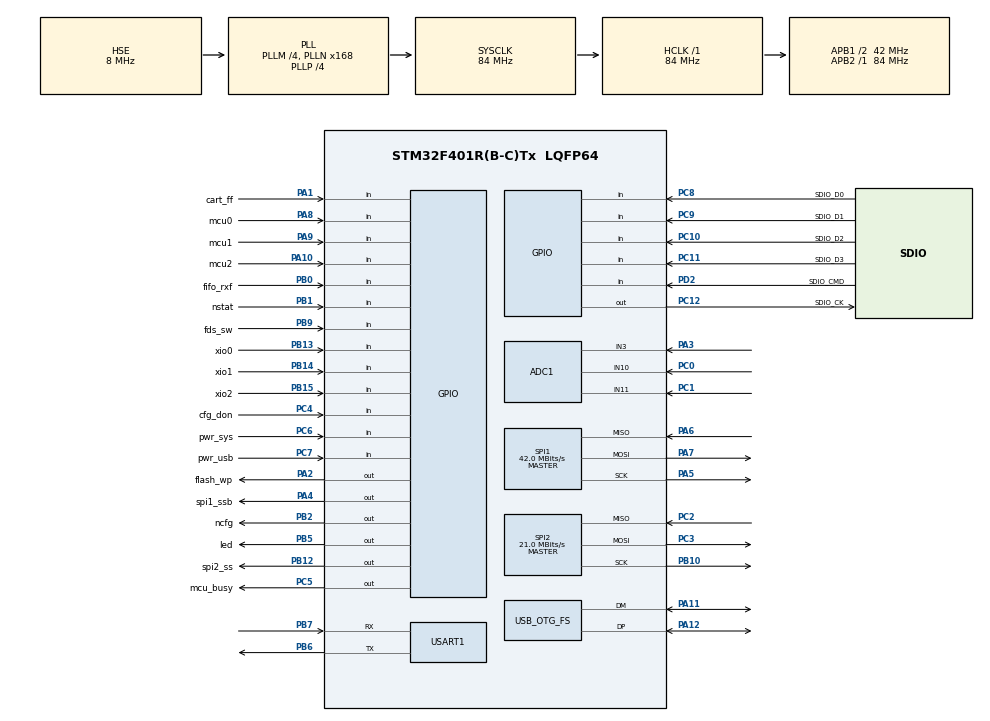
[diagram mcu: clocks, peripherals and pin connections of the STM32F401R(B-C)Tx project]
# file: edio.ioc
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ADC1.Channel-0\#ChannelRegularConversion=ADC_CHANNEL_10
ADC1.ClockPrescaler=ADC_CLOCK_SYNC_PCLK_DIV8
ADC1.InjNumberOfConversion=0
ADC1.NbrOfConversion=1
ADC1.NbrOfConversionFlag=1
ADC1.Rank-0\#ChannelRegularConversion=1
ADC1.SamplingTime-0\#ChannelRegularConversion=ADC_SAMPLETIME_3CYCLES
ADC1.master=1
Dma.Request0=SPI1_TX
Dma.SPI1_TX.0.Direction=DMA_MEMORY_TO_PERIPH
Dma.SPI1_TX.0.FIFOMode=DMA_FIFOMODE_ENABLE
Dma.SPI1_TX.0.FIFOThreshold=DMA_FIFO_THRESHOLD_1QUARTERFULL
Dma.SPI1_TX.0.Instance=DMA2_Stream5
Dma.SPI1_TX.0.MemBurst=DMA_MBURST_SINGLE
Dma.SPI1_TX.0.MemDataAlignment=DMA_MDATAALIGN_BYTE
Dma.SPI1_TX.0.MemInc=DMA_MINC_ENABLE
Dma.SPI1_TX.0.Mode=DMA_NORMAL
Dma.SPI1_TX.0.PeriphBurst=DMA_PBURST_SINGLE
Dma.SPI1_TX.0.PeriphDataAlignment=DMA_PDATAALIGN_BYTE
Dma.SPI1_TX.0.PeriphInc=DMA_PINC_DISABLE
Dma.SPI1_TX.0.Priority=DMA_PRIORITY_LOW
IWDG.Prescaler=IWDG_PRESCALER_32
IWDG.Reload=2048
Mcu.Family=STM32F4
Mcu.Name=STM32F401R(B-C)Tx
Mcu.Package=LQFP64
NVIC.DMA2_Stream5_IRQn=true\:0\:0\:false\:false\:true\:false
NVIC.OTG_FS_IRQn=true\:0\:0\:false\:false\:true\:false
NVIC.PriorityGroup=NVIC_PRIORITYGROUP_4
PA1.GPIO_Label=cart_ff
PA1.GPIO_PuPd=GPIO_PULLUP
PA1.Signal=GPIO_Input
PA10.GPIO_Label=mcu2
PA10.Signal=GPIO_Input
PA11.Mode=Device_Only
PA11.Signal=USB_OTG_FS_DM
PA12.GPIO_PuPd=GPIO_PULLUP
PA12.Mode=Device_Only
PA12.Signal=USB_OTG_FS_DP
PA2.GPIO_Label=flash_wp
PA2.Signal=GPIO_Output
PA3.Signal=ADCx_IN3
PA4.GPIO_Label=spi1_ssb
PA4.PinState=GPIO_PIN_SET
PA4.Signal=GPIO_Output
PA5.Mode=Full_Duplex_Master
PA5.Signal=SPI1_SCK
PA6.Mode=Full_Duplex_Master
PA6.Signal=SPI1_MISO
PA7.Mode=Full_Duplex_Master
PA7.Signal=SPI1_MOSI
PA8.GPIO_Label=mcu0
PA8.Signal=GPIO_Input
PA9.GPIO_Label=mcu1
PA9.Signal=GPIO_Input
PB0.GPIO_Label=fifo_rxf
PB0.GPIO_PuPd=GPIO_PULLUP
PB0.Signal=GPIO_Input
PB1.GPIO_Label=nstat
PB1.GPIO_PuPd=GPIO_PULLUP
PB1.Signal=GPIO_Input
PB10.Mode=Full_Duplex_Master
PB10.Signal=SPI2_SCK
PB12.GPIO_Label=spi2_ss
PB12.Signal=GPIO_Output
PB13.GPIO_Label=xio0
PB13.GPIO_PuPd=GPIO_PULLUP
PB13.Signal=GPIO_Input
PB14.GPIO_Label=xio1
PB14.GPIO_PuPd=GPIO_PULLUP
PB14.Signal=GPIO_Input
PB15.GPIO_Label=xio2
PB15.GPIO_PuPd=GPIO_PULLUP
PB15.Signal=GPIO_Input
PB2.GPIO_Label=ncfg
PB2.PinState=GPIO_PIN_SET
PB2.Signal=GPIO_Output
PB5.GPIO_Label=led
PB5.Signal=GPIO_Output
PB6.Mode=Asynchronous
PB6.Signal=USART1_TX
PB7.Mode=Asynchronous
PB7.Signal=USART1_RX
PB9.GPIO_Label=fds_sw
PB9.GPIO_PuPd=GPIO_PULLUP
PB9.Signal=GPIO_Input
PC0.Signal=ADCx_IN10
PC1.Signal=ADCx_IN11
PC10.GPIO_Label=SDIO_D2
PC10.Signal=GPIO_Input
PC11.GPIO_Label=SDIO_D3
PC11.Signal=GPIO_Input
PC12.GPIO_Label=SDIO_CK
PC12.Signal=GPIO_Output
PC14-OSC32_IN.Mode=LSE-External-Oscillator
PC14-OSC32_IN.Signal=RCC_OSC32_IN
PC15-OSC32_OUT.Mode=LSE-External-Oscillator
PC15-OSC32_OUT.Signal=RCC_OSC32_OUT
PC2.Mode=Full_Duplex_Master
PC2.Signal=SPI2_MISO
PC3.Mode=Full_Duplex_Master
PC3.Signal=SPI2_MOSI
PC4.GPIO_Label=cfg_don
PC4.GPIO_PuPd=GPIO_PULLUP
PC4.Signal=GPIO_Input
PC5.GPIO_Label=mcu_busy
PC5.Signal=GPIO_Output
PC6.GPIO_Label=pwr_sys
PC6.Signal=GPIO_Input
PC7.GPIO_Label=pwr_usb
PC7.GPIO_PuPd=GPIO_NOPULL
PC7.Signal=GPIO_Input
PC8.GPIO_Label=SDIO_D0
PC8.Signal=GPIO_Input
PC9.GPIO_Label=SDIO_D1
PC9.Signal=GPIO_Input
PD2.GPIO_Label=SDIO_CMD
PD2.Signal=GPIO_Input
PH0\ -\ OSC_IN.Mode=HSE-External-Oscillator
PH0\ -\ OSC_IN.Signal=RCC_OSC_IN
PH1\ -\ OSC_OUT.Mode=HSE-External-Oscillator
PH1\ -\ OSC_OUT.Signal=RCC_OSC_OUT
ProjectManager.HeapSize=0x200
ProjectManager.StackSize=0x400
ProjectManager.TargetToolchain=Makefile
RCC.48MHZClocksFreq_Value=48000000
RCC.AHBFreq_Value=84000000
RCC.APB1CLKDivider=RCC_HCLK_DIV2
RCC.APB1Freq_Value=42000000
RCC.APB1TimFreq_Value=84000000
RCC.APB2Freq_Value=84000000
RCC.APB2TimFreq_Value=84000000
RCC.CortexFreq_Value=84000000
RCC.HCLKFreq_Value=84000000
RCC.HSE_VALUE=8000000
RCC.HSI_VALUE=16000000
RCC.PLLM=4
RCC.PLLN=168
RCC.PLLP=RCC_PLLP_DIV4
RCC.PLLQ=7
RCC.RCC_RTC_Clock_Source=RCC_RTCCLKSOURCE_LSE
RCC.RCC_RTC_Clock_SourceVirtual=RCC_RTCCLKSOURCE_LSE
RCC.SYSCLKFreq_VALUE=84000000
RCC.SYSCLKSource=RCC_SYSCLKSOURCE_PLLCLK
RCC.VCOOutputFreq_Value=336000000
SH.ADCx_IN10.0=ADC1_IN10,IN10
SH.ADCx_IN11.0=ADC1_IN11,IN11
SH.ADCx_IN3.0=ADC1_IN3,IN3
SPI1.CalculateBaudRate=42.0 MBits/s
SPI1.Direction=SPI_DIRECTION_2LINES
SPI1.Mode=SPI_MODE_MASTER
SPI1.VirtualType=VM_MASTER
SPI2.BaudRatePrescaler=SPI_BAUDRATEPRESCALER_2
SPI2.CalculateBaudRate=21.0 MBits/s
SPI2.Direction=SPI_DIRECTION_2LINES
SPI2.FirstBit=SPI_FIRSTBIT_MSB
SPI2.Mode=SPI_MODE_MASTER
SPI2.VirtualType=VM_MASTER
TIM2.CounterMode=TIM_COUNTERMODE_DOWN
TIM2.Period=1
TIM2.Prescaler=8400
TIM2.TIM_MasterOutputTrigger=TIM_TRGO_UPDATE
USART1.VirtualMode=VM_ASYNC
USB_DEVICE.CLASS_NAME_FS=CDC
USB_DEVICE.MANUFACTURER_STRING=STMicroelectronics
USB_DEVICE.PRODUCT_STRING_CDC_FS=EverDrive N8
USB_DEVICE.USBD_SELF_POWERED=0
USB_DEVICE.VirtualMode=Cdc
USB_DEVICE.VirtualModeFS=Cdc_FS
USB_OTG_FS.VirtualMode=Device_Only
USB_OTG_FS.ep0_mps=DEP0CTL_MPS_64
VP_ADC1_Vbat_Input.Mode=IN-Vbat
VP_CRC_VS_CRC.Mode=CRC_Activate
VP_IWDG_VS_IWDG.Mode=IWDG_Activate
VP_RTC_VS_RTC_Activate.Mode=RTC_Enabled
VP_TIM2_VS_ClockSourceINT.Mode=Internal
VP_TIM2_VS_ClockSourceITR.Mode=TriggerSource_ITR0
VP_USB_DEVICE_VS_USB_DEVICE_CDC_FS.Mode=CDC_FS
board=custom

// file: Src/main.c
/* USER CODE BEGIN Header */
/**
 ******************************************************************************
 * @file           : main.c
 * @brief          : Main program body
 ******************************************************************************
 ** This notice applies to any and all portions of this file
 * that are not between comment pairs USER CODE BEGIN and
 * USER CODE END. Other portions of this file, whether
 * inserted by the user or by software development tools
 * are owned by their respective copyright owners.
 *
 * COPYRIGHT(c) 2019 STMicroelectronics
 *
 * Redistribution and use in source and binary forms, with or without modification,
 * are permitted provided that the following conditions are met:
 *   1. Redistributions of source code must retain the above copyright notice,
 *      this list of conditions and the following disclaimer.
 *   2. Redistributions in binary form must reproduce the above copyright notice,
 *      this list of conditions and the following disclaimer in the documentation
 *      and/or other materials provided with the distribution.
 *   3. Neither the name of STMicroelectronics nor the names of its contributors
 *      may be used to endorse or promote products derived from this software
 *      without specific prior written permission.
 *
 * THIS SOFTWARE IS PROVIDED BY THE COPYRIGHT HOLDERS AND CONTRIBUTORS "AS IS"
 * AND ANY EXPRESS OR IMPLIED WARRANTIES, INCLUDING, BUT NOT LIMITED TO, THE
 * IMPLIED WARRANTIES OF MERCHANTABILITY AND FITNESS FOR A PARTICULAR PURPOSE ARE
 * DISCLAIMED. IN NO EVENT SHALL THE COPYRIGHT HOLDER OR CONTRIBUTORS BE LIABLE
 * FOR ANY DIRECT, INDIRECT, INCIDENTAL, SPECIAL, EXEMPLARY, OR CONSEQUENTIAL
 * DAMAGES (INCLUDING, BUT NOT LIMITED TO, PROCUREMENT OF SUBSTITUTE GOODS OR
 * SERVICES; LOSS OF USE, DATA, OR PROFITS; OR BUSINESS INTERRUPTION) HOWEVER
 * CAUSED AND ON ANY THEORY OF LIABILITY, WHETHER IN CONTRACT, STRICT LIABILITY,
 * OR TORT (INCLUDING NEGLIGENCE OR OTHERWISE) ARISING IN ANY WAY OUT OF THE USE
 * OF THIS SOFTWARE, EVEN IF ADVISED OF THE POSSIBILITY OF SUCH DAMAGE.
 *
 ******************************************************************************
 */
/* USER CODE END Header */

#include "main.h"
#include "usb_device.h"

/* USER CODE BEGIN Includes */
#include "edio.h"
/* USER CODE END Includes */

void SystemClock_Config(void);
static void MX_GPIO_Init(void);
static void MX_DMA_Init(void);
static void MX_SPI1_Init(void);
static void MX_SPI2_Init(void);
static void MX_ADC1_Init(void);
static void MX_USART1_UART_Init(void);
static void MX_TIM2_Init(void);
static void MX_IWDG_Init(void);
static void MX_RTC_Init(void);
static void MX_CRC_Init(void);

/* USER CODE BEGIN 0 */

extern USBD_HandleTypeDef hUsbDeviceFS;

void appStart() {

    SCB->VTOR = ADDR_PFL_APP;

    HAL_Init();
    SystemClock_Config();
    MX_GPIO_Init();
    MX_DMA_Init();
    MX_SPI1_Init();
    MX_SPI2_Init();
    MX_ADC1_Init();
    MX_USART1_UART_Init();
    MX_TIM2_Init();
    MX_IWDG_Init();
    MX_RTC_Init();
    MX_CRC_Init();

    MX_USB_DEVICE_Init();
    edio();

    dbg_print("Unexpected condition");
    for (;;);

}
/* USER CODE END 0 */

int main(void) {
    /* USER CODE BEGIN 1 */
    appStart();

    /* USER CODE END 1 */

    /* MCU Configuration--------------------------------------------------------*/

    /* Reset of all peripherals, Initializes the Flash interface and the Systick. */
    HAL_Init();

    /* Configure the system clock */
    SystemClock_Config();

    /* Initialize all configured peripherals */
    MX_GPIO_Init();
    MX_DMA_Init();
    MX_SPI1_Init();
    MX_SPI2_Init();
    MX_USB_DEVICE_Init();
    MX_ADC1_Init();
    MX_USART1_UART_Init();
    MX_TIM2_Init();
    MX_IWDG_Init();
    MX_RTC_Init();
    MX_CRC_Init();

    /* Infinite loop */
    /* USER CODE BEGIN WHILE */
    //tst();

    while (1) {
        /* USER CODE END WHILE */
    }
}

void SystemClock_Config(void) {
    RCC_OscInitTypeDef RCC_OscInitStruct = {0};
    RCC_ClkInitTypeDef RCC_ClkInitStruct = {0};
    RCC_PeriphCLKInitTypeDef PeriphClkInitStruct = {0};

    /**Configure the main internal regulator output voltage
     */
    __HAL_RCC_PWR_CLK_ENABLE();
    __HAL_PWR_VOLTAGESCALING_CONFIG(PWR_REGULATOR_VOLTAGE_SCALE2);
    /**Initializes the CPU, AHB and APB busses clocks
     */
    RCC_OscInitStruct.OscillatorType = RCC_OSCILLATORTYPE_LSI | RCC_OSCILLATORTYPE_HSE
            | RCC_OSCILLATORTYPE_LSE;
    RCC_OscInitStruct.HSEState = RCC_HSE_ON;
    RCC_OscInitStruct.LSEState = RCC_LSE_ON;
    RCC_OscInitStruct.LSIState = RCC_LSI_ON;
    RCC_OscInitStruct.PLL.PLLState = RCC_PLL_ON;
    RCC_OscInitStruct.PLL.PLLSource = RCC_PLLSOURCE_HSE;
    RCC_OscInitStruct.PLL.PLLM = 4;
    RCC_OscInitStruct.PLL.PLLN = 168;
    RCC_OscInitStruct.PLL.PLLP = RCC_PLLP_DIV4;
    RCC_OscInitStruct.PLL.PLLQ = 7;
    if (HAL_RCC_OscConfig(&RCC_OscInitStruct) != HAL_OK) {
        Error_Handler();
    }
    /**Initializes the CPU, AHB and APB busses clocks
     */
    RCC_ClkInitStruct.ClockType = RCC_CLOCKTYPE_HCLK | RCC_CLOCKTYPE_SYSCLK
            | RCC_CLOCKTYPE_PCLK1 | RCC_CLOCKTYPE_PCLK2;
    RCC_ClkInitStruct.SYSCLKSource = RCC_SYSCLKSOURCE_PLLCLK;
    RCC_ClkInitStruct.AHBCLKDivider = RCC_SYSCLK_DIV1;
    RCC_ClkInitStruct.APB1CLKDivider = RCC_HCLK_DIV2;
    RCC_ClkInitStruct.APB2CLKDivider = RCC_HCLK_DIV1;

    if (HAL_RCC_ClockConfig(&RCC_ClkInitStruct, FLASH_LATENCY_2) != HAL_OK) {
        Error_Handler();
    }
    PeriphClkInitStruct.PeriphClockSelection = RCC_PERIPHCLK_RTC;
    PeriphClkInitStruct.RTCClockSelection = RCC_RTCCLKSOURCE_LSE;
    if (HAL_RCCEx_PeriphCLKConfig(&PeriphClkInitStruct) != HAL_OK) {
        Error_Handler();
    }
}

static void MX_ADC1_Init(void) {

    LL_ADC_InitTypeDef ADC_InitStruct = {0};
    LL_ADC_REG_InitTypeDef ADC_REG_InitStruct = {0};
    LL_ADC_CommonInitTypeDef ADC_CommonInitStruct = {0};

    LL_GPIO_InitTypeDef GPIO_InitStruct = {0};

    /* Peripheral clock enable */
    LL_APB2_GRP1_EnableClock(LL_APB2_GRP1_PERIPH_ADC1);

    LL_AHB1_GRP1_EnableClock(LL_AHB1_GRP1_PERIPH_GPIOC);
    LL_AHB1_GRP1_EnableClock(LL_AHB1_GRP1_PERIPH_GPIOA);
    /**ADC1 GPIO Configuration
    PC0   ------> ADC1_IN10
    PC1   ------> ADC1_IN11
    PA3   ------> ADC1_IN3
     */
    GPIO_InitStruct.Pin = LL_GPIO_PIN_0 | LL_GPIO_PIN_1;
    GPIO_InitStruct.Mode = LL_GPIO_MODE_ANALOG;
    GPIO_InitStruct.Pull = LL_GPIO_PULL_NO;
    LL_GPIO_Init(GPIOC, &GPIO_InitStruct);

    GPIO_InitStruct.Pin = LL_GPIO_PIN_3;
    GPIO_InitStruct.Mode = LL_GPIO_MODE_ANALOG;
    GPIO_InitStruct.Pull = LL_GPIO_PULL_NO;
    LL_GPIO_Init(GPIOA, &GPIO_InitStruct);

    /**Common config
     */
    ADC_InitStruct.Resolution = LL_ADC_RESOLUTION_12B;
    ADC_InitStruct.DataAlignment = LL_ADC_DATA_ALIGN_RIGHT;
    ADC_InitStruct.SequencersScanMode = LL_ADC_SEQ_SCAN_DISABLE;
    LL_ADC_Init(ADC1, &ADC_InitStruct);
    ADC_REG_InitStruct.TriggerSource = LL_ADC_REG_TRIG_SOFTWARE;
    ADC_REG_InitStruct.SequencerLength = LL_ADC_REG_SEQ_SCAN_DISABLE;
    ADC_REG_InitStruct.SequencerDiscont = LL_ADC_REG_SEQ_DISCONT_DISABLE;
    ADC_REG_InitStruct.ContinuousMode = LL_ADC_REG_CONV_SINGLE;
    ADC_REG_InitStruct.DMATransfer = LL_ADC_REG_DMA_TRANSFER_LIMITED;
    LL_ADC_REG_Init(ADC1, &ADC_REG_InitStruct);
    LL_ADC_REG_SetFlagEndOfConversion(ADC1, LL_ADC_REG_FLAG_EOC_UNITARY_CONV);
    LL_ADC_DisableIT_EOCS(ADC1);
    ADC_CommonInitStruct.CommonClock = LL_ADC_CLOCK_SYNC_PCLK_DIV8;
    LL_ADC_CommonInit(__LL_ADC_COMMON_INSTANCE(ADC1), &ADC_CommonInitStruct);
    /**Configure Regular Channel
     */
    LL_ADC_REG_SetSequencerRanks(ADC1, LL_ADC_REG_RANK_1, LL_ADC_CHANNEL_10);
    LL_ADC_SetChannelSamplingTime(ADC1, LL_ADC_CHANNEL_10, LL_ADC_SAMPLINGTIME_3CYCLES);

}

static void MX_CRC_Init(void) {

    /* Peripheral clock enable */
    LL_AHB1_GRP1_EnableClock(LL_AHB1_GRP1_PERIPH_CRC);

}

static void MX_IWDG_Init(void) {

    LL_IWDG_Enable(IWDG);
    LL_IWDG_EnableWriteAccess(IWDG);
    LL_IWDG_SetPrescaler(IWDG, LL_IWDG_PRESCALER_32);
    LL_IWDG_SetReloadCounter(IWDG, 2048);
    while (LL_IWDG_IsReady(IWDG) != 1) {
    }

    LL_IWDG_ReloadCounter(IWDG);

}

static void MX_RTC_Init(void) {

    LL_RTC_InitTypeDef RTC_InitStruct = {0};

    /* Peripheral clock enable */
    LL_RCC_EnableRTC();

    /* USER CODE BEGIN RTC_Init 1 */

    return; //RTC reinit results in time floating

    /* USER CODE END RTC_Init 1 */
    /**Initialize RTC and set the Time and Date
     */
    RTC_InitStruct.HourFormat = LL_RTC_HOURFORMAT_24HOUR;
    RTC_InitStruct.AsynchPrescaler = 127;
    RTC_InitStruct.SynchPrescaler = 255;
    LL_RTC_Init(RTC, &RTC_InitStruct);
    LL_RTC_SetAsynchPrescaler(RTC, 127);
    LL_RTC_SetSynchPrescaler(RTC, 255);

}

static void MX_SPI1_Init(void) {

    LL_SPI_InitTypeDef SPI_InitStruct = {0};

    LL_GPIO_InitTypeDef GPIO_InitStruct = {0};

    /* Peripheral clock enable */
    LL_APB2_GRP1_EnableClock(LL_APB2_GRP1_PERIPH_SPI1);

    LL_AHB1_GRP1_EnableClock(LL_AHB1_GRP1_PERIPH_GPIOA);
    /**SPI1 GPIO Configuration
    PA5   ------> SPI1_SCK
    PA6   ------> SPI1_MISO
    PA7   ------> SPI1_MOSI
     */
    GPIO_InitStruct.Pin = LL_GPIO_PIN_5 | LL_GPIO_PIN_6 | LL_GPIO_PIN_7;
    GPIO_InitStruct.Mode = LL_GPIO_MODE_ALTERNATE;
    GPIO_InitStruct.Speed = LL_GPIO_SPEED_FREQ_VERY_HIGH;
    GPIO_InitStruct.OutputType = LL_GPIO_OUTPUT_PUSHPULL;
    GPIO_InitStruct.Pull = LL_GPIO_PULL_NO;
    GPIO_InitStruct.Alternate = LL_GPIO_AF_5;
    LL_GPIO_Init(GPIOA, &GPIO_InitStruct);

    /* SPI1 DMA Init */

    /* SPI1_TX Init */
    LL_DMA_SetChannelSelection(DMA2, LL_DMA_STREAM_5, LL_DMA_CHANNEL_3);

    LL_DMA_SetDataTransferDirection(DMA2, LL_DMA_STREAM_5, LL_DMA_DIRECTION_MEMORY_TO_PERIPH);

    LL_DMA_SetStreamPriorityLevel(DMA2, LL_DMA_STREAM_5, LL_DMA_PRIORITY_LOW);

    LL_DMA_SetMode(DMA2, LL_DMA_STREAM_5, LL_DMA_MODE_NORMAL);

    LL_DMA_SetPeriphIncMode(DMA2, LL_DMA_STREAM_5, LL_DMA_PERIPH_NOINCREMENT);

    LL_DMA_SetMemoryIncMode(DMA2, LL_DMA_STREAM_5, LL_DMA_MEMORY_INCREMENT);

    LL_DMA_SetPeriphSize(DMA2, LL_DMA_STREAM_5, LL_DMA_PDATAALIGN_BYTE);

    LL_DMA_SetMemorySize(DMA2, LL_DMA_STREAM_5, LL_DMA_MDATAALIGN_BYTE);

    LL_DMA_EnableFifoMode(DMA2, LL_DMA_STREAM_5);

    LL_DMA_SetFIFOThreshold(DMA2, LL_DMA_STREAM_5, LL_DMA_FIFOTHRESHOLD_1_4);

    LL_DMA_SetMemoryBurstxfer(DMA2, LL_DMA_STREAM_5, LL_DMA_MBURST_SINGLE);

    LL_DMA_SetPeriphBurstxfer(DMA2, LL_DMA_STREAM_5, LL_DMA_PBURST_SINGLE);

    /* SPI1 parameter configuration*/
    SPI_InitStruct.TransferDirection = LL_SPI_FULL_DUPLEX;
    SPI_InitStruct.Mode = LL_SPI_MODE_MASTER;
    SPI_InitStruct.DataWidth = LL_SPI_DATAWIDTH_8BIT;
    SPI_InitStruct.ClockPolarity = LL_SPI_POLARITY_LOW;
    SPI_InitStruct.ClockPhase = LL_SPI_PHASE_1EDGE;
    SPI_InitStruct.NSS = LL_SPI_NSS_SOFT;
    SPI_InitStruct.BaudRate = LL_SPI_BAUDRATEPRESCALER_DIV2;
    SPI_InitStruct.BitOrder = LL_SPI_MSB_FIRST;
    SPI_InitStruct.CRCCalculation = LL_SPI_CRCCALCULATION_DISABLE;
    SPI_InitStruct.CRCPoly = 10;
    LL_SPI_Init(SPI1, &SPI_InitStruct);
    LL_SPI_SetStandard(SPI1, LL_SPI_PROTOCOL_MOTOROLA);

}

static void MX_SPI2_Init(void) {

    LL_SPI_InitTypeDef SPI_InitStruct = {0};

    LL_GPIO_InitTypeDef GPIO_InitStruct = {0};

    /* Peripheral clock enable */
    LL_APB1_GRP1_EnableClock(LL_APB1_GRP1_PERIPH_SPI2);

    LL_AHB1_GRP1_EnableClock(LL_AHB1_GRP1_PERIPH_GPIOC);
    LL_AHB1_GRP1_EnableClock(LL_AHB1_GRP1_PERIPH_GPIOB);
    /**SPI2 GPIO Configuration
    PC2   ------> SPI2_MISO
    PC3   ------> SPI2_MOSI
    PB10   ------> SPI2_SCK
     */
    GPIO_InitStruct.Pin = LL_GPIO_PIN_2 | LL_GPIO_PIN_3;
    GPIO_InitStruct.Mode = LL_GPIO_MODE_ALTERNATE;
    GPIO_InitStruct.Speed = LL_GPIO_SPEED_FREQ_VERY_HIGH;
    GPIO_InitStruct.OutputType = LL_GPIO_OUTPUT_PUSHPULL;
    GPIO_InitStruct.Pull = LL_GPIO_PULL_NO;
    GPIO_InitStruct.Alternate = LL_GPIO_AF_5;
    LL_GPIO_Init(GPIOC, &GPIO_InitStruct);

    GPIO_InitStruct.Pin = LL_GPIO_PIN_10;
    GPIO_InitStruct.Mode = LL_GPIO_MODE_ALTERNATE;
    GPIO_InitStruct.Speed = LL_GPIO_SPEED_FREQ_VERY_HIGH;
    GPIO_InitStruct.OutputType = LL_GPIO_OUTPUT_PUSHPULL;
    GPIO_InitStruct.Pull = LL_GPIO_PULL_NO;
    GPIO_InitStruct.Alternate = LL_GPIO_AF_5;
    LL_GPIO_Init(GPIOB, &GPIO_InitStruct);

    /* SPI2 parameter configuration*/
    SPI_InitStruct.TransferDirection = LL_SPI_FULL_DUPLEX;
    SPI_InitStruct.Mode = LL_SPI_MODE_MASTER;
    SPI_InitStruct.DataWidth = LL_SPI_DATAWIDTH_8BIT;
    SPI_InitStruct.ClockPolarity = LL_SPI_POLARITY_LOW;
    SPI_InitStruct.ClockPhase = LL_SPI_PHASE_1EDGE;
    SPI_InitStruct.NSS = LL_SPI_NSS_SOFT;
    SPI_InitStruct.BaudRate = LL_SPI_BAUDRATEPRESCALER_DIV2;
    SPI_InitStruct.BitOrder = LL_SPI_MSB_FIRST;
    SPI_InitStruct.CRCCalculation = LL_SPI_CRCCALCULATION_DISABLE;
    SPI_InitStruct.CRCPoly = 10;
    LL_SPI_Init(SPI2, &SPI_InitStruct);
    LL_SPI_SetStandard(SPI2, LL_SPI_PROTOCOL_MOTOROLA);

}

static void MX_TIM2_Init(void) {

    LL_TIM_InitTypeDef TIM_InitStruct = {0};

    /* Peripheral clock enable */
    LL_APB1_GRP1_EnableClock(LL_APB1_GRP1_PERIPH_TIM2);

    TIM_InitStruct.Prescaler = 8400;
    TIM_InitStruct.CounterMode = LL_TIM_COUNTERMODE_DOWN;
    TIM_InitStruct.Autoreload = 1;
    TIM_InitStruct.ClockDivision = LL_TIM_CLOCKDIVISION_DIV1;
    LL_TIM_Init(TIM2, &TIM_InitStruct);
    LL_TIM_SetClockSource(TIM2, LL_TIM_CLOCKSOURCE_INTERNAL);
    LL_TIM_SetTriggerInput(TIM2, LL_TIM_TS_ITR0);
    LL_TIM_SetSlaveMode(TIM2, LL_TIM_SLAVEMODE_DISABLED);
    LL_TIM_DisableIT_TRIG(TIM2);
    LL_TIM_DisableDMAReq_TRIG(TIM2);
    LL_TIM_SetTriggerOutput(TIM2, LL_TIM_TRGO_UPDATE);
    LL_TIM_DisableMasterSlaveMode(TIM2);

}

static void MX_USART1_UART_Init(void) {

    LL_USART_InitTypeDef USART_InitStruct = {0};

    LL_GPIO_InitTypeDef GPIO_InitStruct = {0};

    /* Peripheral clock enable */
    LL_APB2_GRP1_EnableClock(LL_APB2_GRP1_PERIPH_USART1);

    LL_AHB1_GRP1_EnableClock(LL_AHB1_GRP1_PERIPH_GPIOB);
    /**USART1 GPIO Configuration
    PB6   ------> USART1_TX
    PB7   ------> USART1_RX
     */
    GPIO_InitStruct.Pin = LL_GPIO_PIN_6 | LL_GPIO_PIN_7;
    GPIO_InitStruct.Mode = LL_GPIO_MODE_ALTERNATE;
    GPIO_InitStruct.Speed = LL_GPIO_SPEED_FREQ_VERY_HIGH;
    GPIO_InitStruct.OutputType = LL_GPIO_OUTPUT_PUSHPULL;
    GPIO_InitStruct.Pull = LL_GPIO_PULL_UP;
    GPIO_InitStruct.Alternate = LL_GPIO_AF_7;
    LL_GPIO_Init(GPIOB, &GPIO_InitStruct);

    USART_InitStruct.BaudRate = 115200;
    USART_InitStruct.DataWidth = LL_USART_DATAWIDTH_8B;
    USART_InitStruct.StopBits = LL_USART_STOPBITS_1;
    USART_InitStruct.Parity = LL_USART_PARITY_NONE;
    USART_InitStruct.TransferDirection = LL_USART_DIRECTION_TX_RX;
    USART_InitStruct.HardwareFlowControl = LL_USART_HWCONTROL_NONE;
    USART_InitStruct.OverSampling = LL_USART_OVERSAMPLING_16;
    LL_USART_Init(USART1, &USART_InitStruct);
    LL_USART_ConfigAsyncMode(USART1);
    LL_USART_Enable(USART1);

}

static void MX_DMA_Init(void) {
    /* Init with LL driver */
    /* DMA controller clock enable */
    LL_AHB1_GRP1_EnableClock(LL_AHB1_GRP1_PERIPH_DMA2);

    /* DMA interrupt init */
    /* DMA2_Stream5_IRQn interrupt configuration */
    NVIC_SetPriority(DMA2_Stream5_IRQn, NVIC_EncodePriority(NVIC_GetPriorityGrouping(), 0, 0));
    NVIC_EnableIRQ(DMA2_Stream5_IRQn);

}

static void MX_GPIO_Init(void) {
    LL_GPIO_InitTypeDef GPIO_InitStruct = {0};

    /* GPIO Ports Clock Enable */
    LL_AHB1_GRP1_EnableClock(LL_AHB1_GRP1_PERIPH_GPIOC);
    LL_AHB1_GRP1_EnableClock(LL_AHB1_GRP1_PERIPH_GPIOH);
    LL_AHB1_GRP1_EnableClock(LL_AHB1_GRP1_PERIPH_GPIOA);
    LL_AHB1_GRP1_EnableClock(LL_AHB1_GRP1_PERIPH_GPIOB);
    LL_AHB1_GRP1_EnableClock(LL_AHB1_GRP1_PERIPH_GPIOD);

    /**/
    LL_GPIO_ResetOutputPin(flash_wp_GPIO_Port, flash_wp_Pin);

    /**/
    LL_GPIO_ResetOutputPin(GPIOC, mcu_busy_Pin | SDIO_CK_Pin);

    /**/
    LL_GPIO_ResetOutputPin(GPIOB, spi2_ss_Pin | led_Pin);

    /**/
    LL_GPIO_SetOutputPin(spi1_ssb_GPIO_Port, spi1_ssb_Pin);

    /**/
    LL_GPIO_SetOutputPin(ncfg_GPIO_Port, ncfg_Pin);

    /**/
    GPIO_InitStruct.Pin = cart_ff_Pin;
    GPIO_InitStruct.Mode = LL_GPIO_MODE_INPUT;
    GPIO_InitStruct.Pull = LL_GPIO_PULL_UP;
    LL_GPIO_Init(cart_ff_GPIO_Port, &GPIO_InitStruct);

    /**/
    GPIO_InitStruct.Pin = flash_wp_Pin | spi1_ssb_Pin;
    GPIO_InitStruct.Mode = LL_GPIO_MODE_OUTPUT;
    GPIO_InitStruct.Speed = LL_GPIO_SPEED_FREQ_LOW;
    GPIO_InitStruct.OutputType = LL_GPIO_OUTPUT_PUSHPULL;
    GPIO_InitStruct.Pull = LL_GPIO_PULL_NO;
    LL_GPIO_Init(GPIOA, &GPIO_InitStruct);

    /**/
    GPIO_InitStruct.Pin = cfg_don_Pin;
    GPIO_InitStruct.Mode = LL_GPIO_MODE_INPUT;
    GPIO_InitStruct.Pull = LL_GPIO_PULL_UP;
    LL_GPIO_Init(cfg_don_GPIO_Port, &GPIO_InitStruct);

    /**/
    GPIO_InitStruct.Pin = mcu_busy_Pin | SDIO_CK_Pin;
    GPIO_InitStruct.Mode = LL_GPIO_MODE_OUTPUT;
    GPIO_InitStruct.Speed = LL_GPIO_SPEED_FREQ_LOW;
    GPIO_InitStruct.OutputType = LL_GPIO_OUTPUT_PUSHPULL;
    GPIO_InitStruct.Pull = LL_GPIO_PULL_NO;
    LL_GPIO_Init(GPIOC, &GPIO_InitStruct);

    /**/
    GPIO_InitStruct.Pin = fifo_rxf_Pin | nstat_Pin | xio0_Pin | xio1_Pin
            | xio2_Pin | fds_sw_Pin;
    GPIO_InitStruct.Mode = LL_GPIO_MODE_INPUT;
    GPIO_InitStruct.Pull = LL_GPIO_PULL_UP;
    LL_GPIO_Init(GPIOB, &GPIO_InitStruct);

    /**/
    GPIO_InitStruct.Pin = ncfg_Pin | spi2_ss_Pin | led_Pin;
    GPIO_InitStruct.Mode = LL_GPIO_MODE_OUTPUT;
    GPIO_InitStruct.Speed = LL_GPIO_SPEED_FREQ_LOW;
    GPIO_InitStruct.OutputType = LL_GPIO_OUTPUT_PUSHPULL;
    GPIO_InitStruct.Pull = LL_GPIO_PULL_NO;
    LL_GPIO_Init(GPIOB, &GPIO_InitStruct);

    /**/
    GPIO_InitStruct.Pin = pwr_sys_Pin | pwr_usb_Pin | SDIO_D0_Pin | SDIO_D1_Pin
            | SDIO_D2_Pin | SDIO_D3_Pin;
    GPIO_InitStruct.Mode = LL_GPIO_MODE_INPUT;
    GPIO_InitStruct.Pull = LL_GPIO_PULL_NO;
    LL_GPIO_Init(GPIOC, &GPIO_InitStruct);

    /**/
    GPIO_InitStruct.Pin = mcu0_Pin | mcu1_Pin | mcu2_Pin;
    GPIO_InitStruct.Mode = LL_GPIO_MODE_INPUT;
    GPIO_InitStruct.Pull = LL_GPIO_PULL_NO;
    LL_GPIO_Init(GPIOA, &GPIO_InitStruct);

    /**/
    GPIO_InitStruct.Pin = SDIO_CMD_Pin;
    GPIO_InitStruct.Mode = LL_GPIO_MODE_INPUT;
    GPIO_InitStruct.Pull = LL_GPIO_PULL_NO;
    LL_GPIO_Init(SDIO_CMD_GPIO_Port, &GPIO_InitStruct);

}

void Error_Handler(void) {
}

/************************ (C) COPYRIGHT STMicroelectronics *****END OF FILE****/
